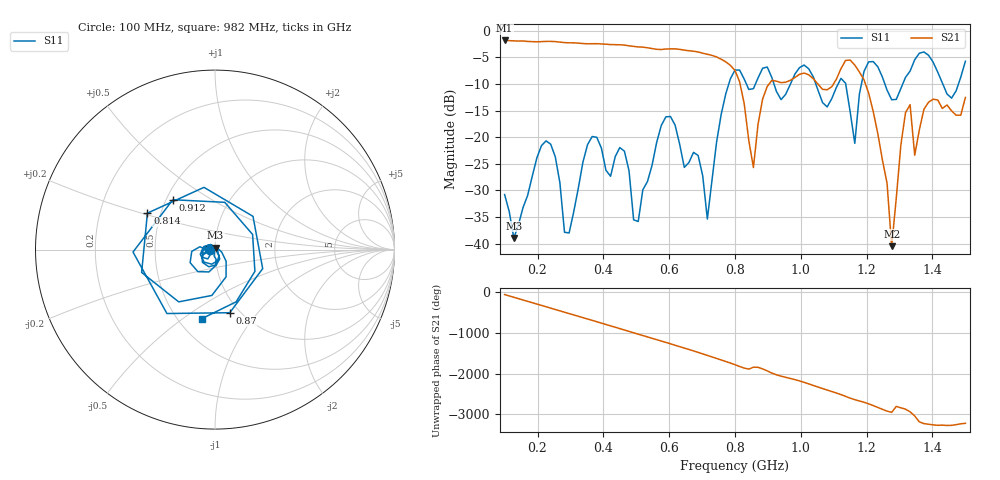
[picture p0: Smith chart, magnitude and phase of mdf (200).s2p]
! NanoVNA-App
! Date: 2025-09-25 15:39:59
! Start: 100MHz Stop: 1,5GHz Points: 101
! S-Parameter data: F S11 S21 S12 S22
# Hz S RI R 50
!  Frequency  S11_Real  S11_Imag  S21_Real  S21_Imag  S12_Real  S12_Imag  S22_Real  S22_Imag
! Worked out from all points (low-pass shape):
!   101 points, 100 MHz to 1.5 GHz, reference 50 ohm
!   highest |S21| = -1.80 dB at 100 MHz (marker M1); lowest = -40.5 dB at 1.276 GHz (marker M2)
!   |S21| within 3 dB of the highest: start of sweep to 739.2 MHz
!   lowest |S11| = -39.0 dB at 128 MHz (marker M3), VSWR 1.02, Z = 50.3 + j1.08 ohm
!   |S11| at or under -10 dB: start of sweep to 781.1 MHz; 918.5 MHz to 968.5 MHz (49.96 MHz wide, 5.3 % of centre); 1.046 GHz to 1.113 GHz (67.65 MHz wide, 6.27 % of centre) (the widest 3 of 7)
!   S12 and S22 are empty: the file has one direction only
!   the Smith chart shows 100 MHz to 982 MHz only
!   S11 on the Smith chart (normalised r, x): 100 MHz: 0.94, -0.01; 814 MHz: 0.42, +0.21; 870 MHz: 0.90, -0.73; 912 MHz: 0.54, +0.35; 982 MHz: 0.65, -0.59
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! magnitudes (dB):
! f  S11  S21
! 100 MHz  -30.8  -1.8
! 128 MHz  -39.0  -1.9
! 212 MHz  -21.6  -2.0
! 282 MHz  -37.9  -2.2
! 338 MHz  -24.7  -2.4
! 464 MHz  -22.6  -2.7
! 506 MHz  -35.8  -3.0
! 576 MHz  -17.8  -3.5
! 716 MHz  -35.4  -4.4
! 800 MHz  -7.4  -7.4
! 814 MHz  -7.4  -9.6
! 856 MHz  -10.9  -25.7
! 870 MHz  -8.8  -17.6
! 912 MHz  -8.8  -9.3
! 982 MHz  -8.1  -8.8
! 1.038 GHz  -8.7  -9.0
! 1.136 GHz  -9.9  -5.6
! 1.164 GHz  -21.2  -6.4
! 1.192 GHz  -7.6  -9.2
! 1.276 GHz  -13.0  -40.5
! 1.318 GHz  -8.7  -15.4
! 1.5 GHz  -5.7  -12.5
